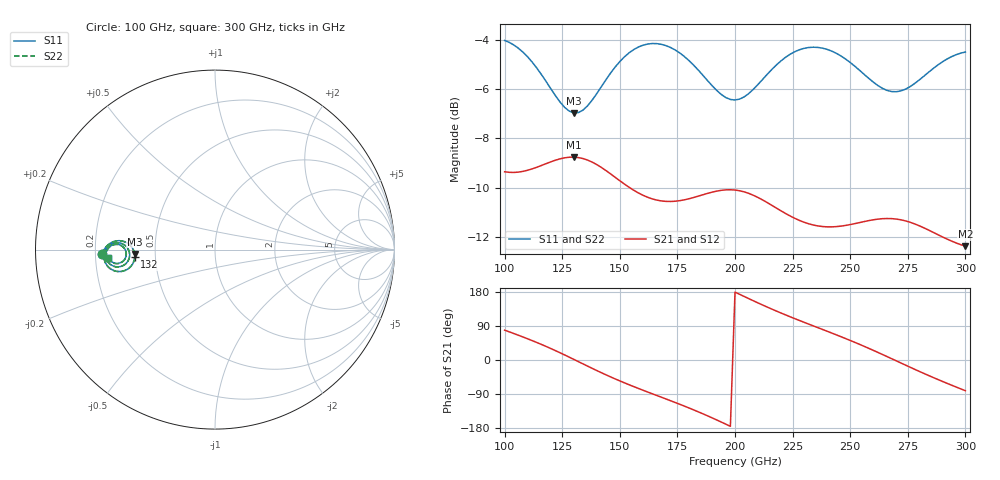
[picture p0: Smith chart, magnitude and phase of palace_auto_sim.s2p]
#  GHZ S DB R 50
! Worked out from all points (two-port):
!   101 points, 100 GHz to 300 GHz, reference 50 ohm
!   highest |S21| = -8.76 dB at 130 GHz (marker M1); lowest = -12.4 dB at 300 GHz (marker M2)
!   |S21| within 3 dB of the highest: start of sweep to 285 GHz
!   lowest |S11| = -7.0 dB at 130 GHz (marker M3), VSWR 2.62, Z = 19.1 - j1.15 ohm
!   |S11| at or under -10 dB: nowhere
!   |S22| runs from -7.0 to -4.0 dB; largest |S21 - S12| = 3e-13
!   S11 on the Smith chart (normalised r, x): 100 GHz: 0.23, -0.02; 132 GHz: 0.38, -0.04; 300 GHz: 0.25, -0.03
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100  -4.03 -177.6  -9.36 78.8  -9.36 78.8  -4.03 -177.5
116  -5.42 174.7  -9.10 41.0  -9.10 41.0  -5.41 174.7
124  -6.52 177.1  -8.83 19.3  -8.83 19.3  -6.51 177.2
130  -6.97 -176.9  -8.76 1.7  -8.76 1.7  -6.96 -176.9
132  -6.96 -174.6  -8.78 -4.2  -8.78 -4.2  -6.95 -174.5
134  -6.86 -172.4  -8.82 -10.2  -8.82 -10.2  -6.85 -172.3
142  -5.90 -167.1  -9.18 -33.5  -9.18 -33.5  -5.90 -167.1
150  -4.89 -167.9  -9.72 -55.1  -9.72 -55.1  -4.88 -167.9
160  -4.23 -173.1  -10.31 -79.6  -10.31 -79.6  -4.22 -173.0
168  -4.19 -177.9  -10.54 -98.1  -10.54 -98.1  -4.18 -177.8
184  -5.23 175.9  -10.35 -136.6  -10.35 -136.6  -5.22 176.0
192  -6.05 177.6  -10.14 -158.1  -10.14 -158.1  -6.04 177.7
200  -6.45 -176.7  -10.10 179.2  -10.10 179.2  -6.44 -176.6
208  -6.01 -171.2  -10.31 156.2  -10.31 156.2  -6.00 -171.1
216  -5.21 -169.9  -10.72 134.3  -10.72 134.3  -5.20 -169.8
224  -4.59 -172.1  -11.15 113.9  -11.15 113.9  -4.58 -172.0
234  -4.31 -176.7  -11.51 90.0  -11.51 90.0  -4.30 -176.6
252  -5.08 177.0  -11.46 46.6  -11.46 46.6  -5.07 177.1
268  -6.11 -178.3  -11.26 3.4  -11.26 3.4  -6.10 -178.1
276  -5.90 -173.8  -11.40 -19.1  -11.40 -19.1  -5.90 -173.6
284  -5.32 -171.9  -11.72 -40.8  -11.72 -40.8  -5.32 -171.8
300  -4.50 -175.7  -12.37 -81.1  -12.37 -81.1  -4.49 -175.5
